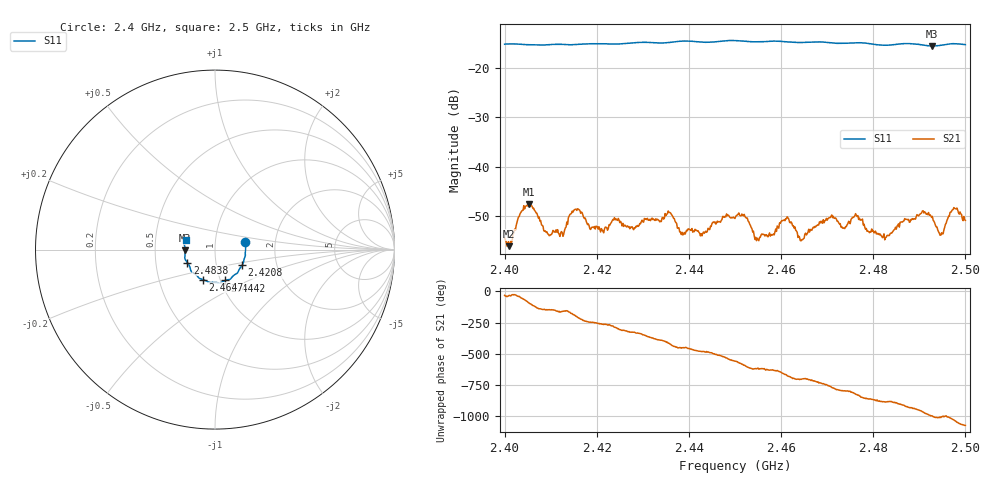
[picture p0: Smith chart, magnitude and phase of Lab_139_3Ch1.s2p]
# Hz S RI R 50
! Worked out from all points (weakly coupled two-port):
!   601 points, 2.4 GHz to 2.5 GHz, reference 50 ohm
!   highest |S21| = -47.53 dB at 2.4053 GHz (marker M1); lowest = -56.1 dB at 2.401 GHz (marker M2)
!   lowest |S11| = -15.6 dB at 2.4928 GHz (marker M3), VSWR 1.40, Z = 35.8 - j0.361 ohm
!   |S11| at or under -10 dB: start of sweep to end of sweep
!   S12 and S22 are empty: the file has one direction only
!   S11 on the Smith chart (normalised r, x): 2.4 GHz: 1.40, +0.12; 2.4208 GHz: 1.33, -0.24; 2.4442 GHz: 1.05, -0.37; 2.4647 GHz: 0.83, -0.29; 2.4838 GHz: 0.73, -0.11; 2.5 GHz: 0.72, +0.08
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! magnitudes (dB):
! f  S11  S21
! 2.4 GHz  -15.3  -54.4
! 2.401 GHz  -15.2  -56.1
! 2.4053 GHz  -15.4  -47.5
! 2.4098 GHz  -15.3  -53.9
! 2.4167 GHz  -15.2  -49.2
! 2.4208 GHz  -15.2  -53.2
! 2.4333 GHz  -15.0  -50.8
! 2.4442 GHz  -14.9  -52.4
! 2.45 GHz  -14.5  -50.5
! 2.4523 GHz  -14.7  -50.3
! 2.4547 GHz  -14.8  -55.0
! 2.4612 GHz  -14.8  -50.5
! 2.4647 GHz  -14.9  -54.8
! 2.4667 GHz  -14.8  -52.9
! 2.4762 GHz  -15.0  -49.5
! 2.4833 GHz  -15.4  -53.9
! 2.4838 GHz  -15.4  -53.4
! 2.4907 GHz  -15.4  -49.0
! 2.4928 GHz  -15.6  -50.0
! 2.4947 GHz  -15.5  -53.8
! 2.4977 GHz  -15.1  -48.4
! 2.5 GHz  -15.3  -50.9
